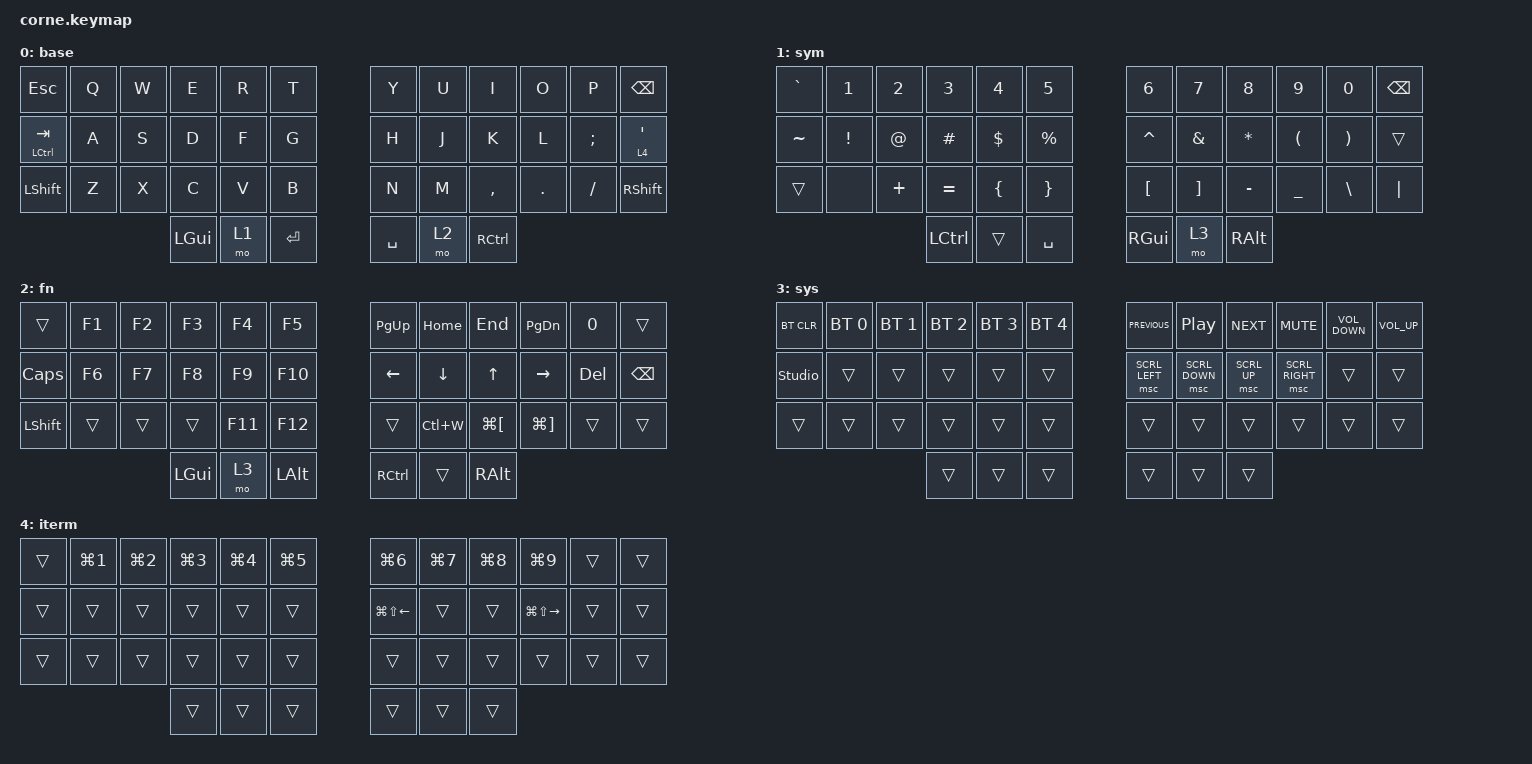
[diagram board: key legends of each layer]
/*
 * Copyright (c) 2020 The ZMK Contributors
 *
 * SPDX-License-Identifier: MIT
 */

#include <behaviors.dtsi>
#include <dt-bindings/zmk/bt.h>
#include <dt-bindings/zmk/keys.h>
#include <dt-bindings/zmk/pointing.h>

&mt {
};

/ {
    keymap {
        compatible = "zmk,keymap";

        base {
            // -----------------------------------------------------------------------------------------
            // |  TAB |  Q  |  W  |  E  |  R  |  T  |   |  Y  |  U   |  I  |  O  |  P  | BKSP |
            // | CTRL |  A  |  S  |  D  |  F  |  G  |   |  H  |  J   |  K  |  L  |  ;  |  '   |
            // | SHFT |  Z  |  X  |  C  |  V  |  B  |   |  N  |  M   |  ,  |  .  |  /  | ESC  |
            //                    | GUI | LWR | SPC |   | ENT | RSE  | ALT |

            bindings = <
&kp ESC               &kp Q  &kp W  &kp E     &kp R  &kp T         &kp Y      &kp U  &kp I              &kp O    &kp P     &kp BSPC
&mt LEFT_CONTROL TAB  &kp A  &kp S  &kp D     &kp F  &kp G         &kp H      &kp J  &kp K              &kp L    &kp SEMI  &lt 4 SQT
&kp LSHFT             &kp Z  &kp X  &kp C     &kp V  &kp B         &kp N      &kp M  &kp COMMA          &kp DOT  &kp FSLH  &kp RIGHT_SHIFT
                                    &kp LGUI  &mo 1  &kp RETURN    &kp SPACE  &mo 2  &kp RIGHT_CONTROL
            >;
        };

        sym {
            // -----------------------------------------------------------------------------------------
            // |  TAB |  1  |  2  |  3  |  4  |  5  |   |  6  |  7  |  8  |  9  |  0  | BKSP |
            // | BTCLR| BT1 | BT2 | BT3 | BT4 | BT5 |   | LFT | DWN |  UP | RGT |     |      |
            // | SHFT |     |     |     |     |     |   |     |     |     |     |     |      |
            //                    | GUI |     | SPC |   | ENT |     | ALT |

            bindings = <
&kp GRAVE  &kp N1    &kp N2       &kp N3            &kp N4          &kp N5             &kp N6            &kp N7             &kp N8        &kp N9                &kp N0                 &kp BSPC
&kp TILDE  &kp EXCL  &kp AT_SIGN  &kp HASH          &kp DOLLAR      &kp PERCENT        &kp CARET         &kp AMPERSAND      &kp ASTERISK  &kp LEFT_PARENTHESIS  &kp RIGHT_PARENTHESIS  &trans
&trans     &none     &kp PLUS     &kp EQUAL         &kp LEFT_BRACE  &kp RIGHT_BRACE    &kp LEFT_BRACKET  &kp RIGHT_BRACKET  &kp MINUS     &kp UNDERSCORE        &kp BACKSLASH          &kp PIPE
                                  &kp LEFT_CONTROL  &trans          &kp SPACE          &kp RIGHT_GUI     &mo 3              &kp RALT
            >;
        };

        fn {
            // -----------------------------------------------------------------------------------------
            // |  TAB |  !  |  @  |  #  |  $  |  %  |   |  ^  |  &  |  *  |  (  |  )  | BKSP |
            // | CTRL |     |     |     |     |     |   |  -  |  =  |  [  |  ]  |  \  |  `   |
            // | SHFT |     |     |     |     |     |   |  _  |  +  |  {  |  }  | "|" |  ~   |
            //                    | GUI |     | SPC |   | ENT |     | ALT |

            bindings = <
&trans        &kp F1  &kp F2  &kp F3    &kp F4   &kp F5          &kp PAGE_UP  &kp HOME   &kp END               &kp PAGE_DOWN          &kp NUMBER_0  &trans
&kp CAPSLOCK  &kp F6  &kp F7  &kp F8    &kp F9   &kp F10         &kp LEFT     &kp DOWN   &kp UP                &kp RIGHT              &kp DEL       &kp BACKSPACE
&kp LSHFT     &trans  &trans  &trans    &kp F11  &kp F12         &trans       &kp LC(W)  &kp LG(LEFT_BRACKET)  &kp LG(RIGHT_BRACKET)  &trans        &trans
                              &kp LGUI  &mo 3    &kp LEFT_ALT    &kp RCTRL    &trans     &kp RALT
            >;
        };

        sys {
            bindings = <
&bt BT_CLR      &bt BT_SEL 0  &bt BT_SEL 1  &bt BT_SEL 2  &bt BT_SEL 3  &bt BT_SEL 4    &kp C_PREVIOUS  &kp C_PLAY_PAUSE  &kp C_NEXT    &kp C_MUTE       &kp C_VOLUME_DOWN  &kp C_VOLUME_UP
&studio_unlock  &trans        &trans        &trans        &trans        &trans          &msc SCRL_LEFT  &msc SCRL_DOWN    &msc SCRL_UP  &msc SCRL_RIGHT  &trans             &trans
&trans          &trans        &trans        &trans        &trans        &trans          &trans          &trans            &trans        &trans           &trans             &trans
                                            &trans        &trans        &trans          &trans          &trans            &trans
            >;
        };

        iterm {
            bindings = <
&trans  &kp LG(NUMBER_1)  &kp LG(NUMBER_2)  &kp LG(NUMBER_3)  &kp LG(NUMBER_4)  &kp LG(NUMBER_5)    &kp LG(NUMBER_6)  &kp LG(NUMBER_7)  &kp LG(NUMBER_8)  &kp LG(NUMBER_9)   &trans  &trans
&trans  &trans            &trans            &trans            &trans            &trans              &kp LG(LS(LEFT))  &trans            &trans            &kp LG(LS(RIGHT))  &trans  &trans
&trans  &trans            &trans            &trans            &trans            &trans              &trans            &trans            &trans            &trans             &trans  &trans
                                            &trans            &trans            &trans              &trans            &trans            &trans
            >;
        };
    };
};
